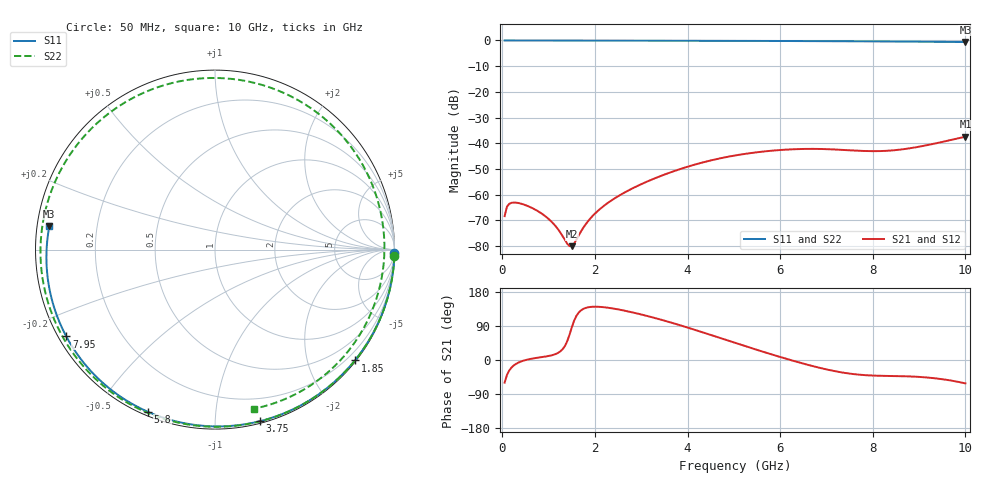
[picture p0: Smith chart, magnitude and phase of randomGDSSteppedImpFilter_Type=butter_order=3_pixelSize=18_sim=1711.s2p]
! freq	dB(S11)	phase(S11)	dB(S12)	phase(S12)
!  dB(S21)	phase(S21)	dB(S22)	phase(S22)
!S-par simulation data
#  GHz  S  DB  R 50
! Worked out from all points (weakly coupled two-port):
!   200 points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, 50 MHz to 10 GHz, reference 50 ohm
!   highest |S21| = -37.45 dB at 10 GHz (marker M1); lowest = -80.1 dB at 1.5 GHz (marker M2)
!   lowest |S11| = -0.6 dB at 10 GHz (marker M3), VSWR 28.45, Z = 1.77 + j3.53 ohm
!   |S11| at or under -10 dB: nowhere
!   |S22| runs from -0.8 to 0.0 dB; largest |S21 - S12| = 0
!   S11 on the Smith chart (normalised r, x): 50 MHz: open; 1.85 GHz: 0.03, -2.87; 3.75 GHz: 0.02, -1.29; 5.8 GHz: 0.02, -0.67; 7.95 GHz: 0.02, -0.27; 10 GHz: 0.04, +0.07
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0.05  -0.00 -1.1  -68.38 -59.9  -68.38 -59.9  -0.00 -2.0
0.1  -0.00 -2.1  -64.73 -39.7  -64.73 -39.7  -0.00 -4.1
0.2  -0.00 -4.2  -63.18 -19.7  -63.18 -19.7  -0.00 -8.2
0.6  -0.01 -12.7  -64.82 2.7  -64.82 2.7  -0.02 -24.4
1.05  -0.03 -22.0  -70.30 11.9  -70.30 11.9  -0.05 -42.5
1.4  -0.04 -29.2  -79.04 49.0  -79.04 49.0  -0.07 -56.3
1.5  -0.04 -31.3  -80.06 85.7  -80.06 85.7  -0.08 -60.3
1.75  -0.05 -36.4  -72.85 134.9  -72.85 134.9  -0.09 -70.0
1.85  -0.05 -38.4  -70.37 139.0  -70.37 139.0  -0.09 -73.9
2.6  -0.07 -53.4  -59.58 131.2  -59.58 131.2  -0.13 -102.7
3.4  -0.09 -68.8  -52.89 107.3  -52.89 107.3  -0.17 -133.2
3.75  -0.10 -75.4  -50.59 95.0  -50.59 95.0  -0.19 -146.7
4.4  -0.13 -87.4  -47.14 70.1  -47.14 70.1  -0.23 -172.5
5.05  -0.15 -99.1  -44.69 44.3  -44.69 44.3  -0.28 160.2
5.8  -0.19 -112.4  -42.93 15.4  -42.93 15.4  -0.34 126.1
6.25  -0.22 -120.2  -42.37 -1.0  -42.37 -1.0  -0.37 104.3
6.7  -0.25 -128.0  -42.19 -16.0  -42.19 -16.0  -0.40 81.5
7.25  -0.30 -137.5  -42.49 -31.1  -42.49 -31.1  -0.43 53.1
7.95  -0.36 -149.7  -43.07 -40.8  -43.07 -40.8  -0.47 17.2
8.35  -0.40 -156.8  -42.89 -42.1  -42.89 -42.1  -0.51 -2.6
9.25  -0.51 -173.4  -40.47 -47.0  -40.47 -47.0  -0.63 -44.1
10  -0.61 171.9  -37.45 -61.7  -37.45 -61.7  -0.80 -76.4
